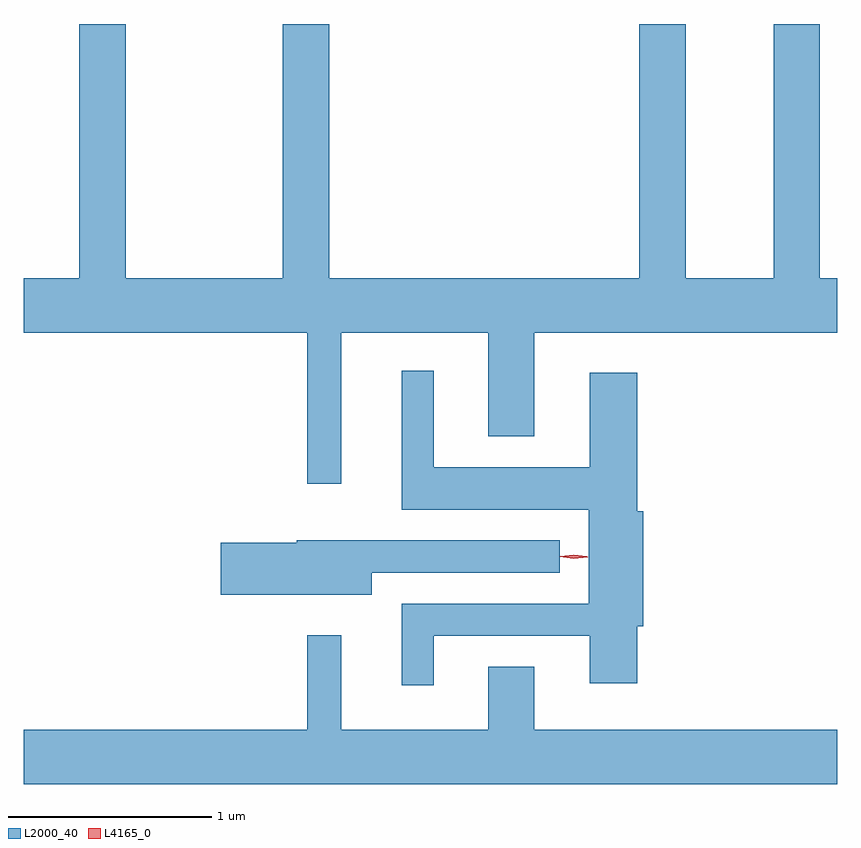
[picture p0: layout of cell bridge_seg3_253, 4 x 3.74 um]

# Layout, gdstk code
import gdstk
lib = gdstk.Library(unit=1e-6, precision=1e-09)
def P(c, l, *ps):  # polygons
    for p in ps: c.add(gdstk.Polygon(p, *l))
L2000_40 = (2000, 40)
L4165_0 = (4165, 0)

bridge_seg3_253 = lib.new_cell('bridge_seg3_253')
P(bridge_seg3_253, L2000_40, [(910.581,1140.813),(910.749,1140.813),(910.749,1141.556),(911.471,1141.556),(911.471,1141.046),(911.699,1141.046),(911.699,1141.556),(913.188,1141.556),(913.188,1141.824),(913.104,1141.824),(913.104,1143.075),(912.876,1143.075),(912.876,1141.824),(912.444,1141.824),(912.444,1143.075),(912.216,1143.075),(912.216,1141.824),(910.689,1141.824),(910.689,1143.075),(910.461,1143.075),(910.461,1141.824),(909.689,1141.824),(909.689,1143.075),(909.461,1143.075),(909.461,1141.824),(909.188,1141.824),(909.188,1141.556),(910.581,1141.556)],
  [(911.204,1140.066),(911.971,1140.066),(911.971,1139.831),(912.204,1139.831),(912.204,1140.111),(912.234,1140.111),(912.234,1140.679),(912.204,1140.679),(912.204,1141.359),(911.971,1141.359),(911.971,1140.894),(911.204,1140.894),(911.204,1141.368),(911.046,1141.368),(911.046,1140.686),(911.966,1140.686),(911.966,1140.224),(911.046,1140.224),(911.046,1139.823),(911.204,1139.823)],
  [(910.899,1140.376),(911.823,1140.376),(911.823,1140.534),(910.53,1140.534),(910.53,1140.524),(910.156,1140.524),(910.156,1140.266),(910.899,1140.266)],
  [(913.188,1139.604),(911.699,1139.604),(911.699,1139.914),(911.471,1139.914),(911.471,1139.604),(910.749,1139.604),(910.749,1140.068),(910.581,1140.068),(910.581,1139.604),(909.188,1139.604),(909.188,1139.336),(913.188,1139.336)])
P(bridge_seg3_253, L4165_0, [(911.893,1140.444),(911.824,1140.453),(911.824,1140.454),(911.824,1140.454),(911.893,1140.463),(911.961,1140.454),(911.962,1140.453),(911.961,1140.452)],
  [(911.892,1140.445),(911.827,1140.454),(911.827,1140.455),(911.827,1140.456),(911.892,1140.465),(911.957,1140.456),(911.957,1140.455),(911.957,1140.454)])

lib.write_gds('bridge_seg3_253.gds')
